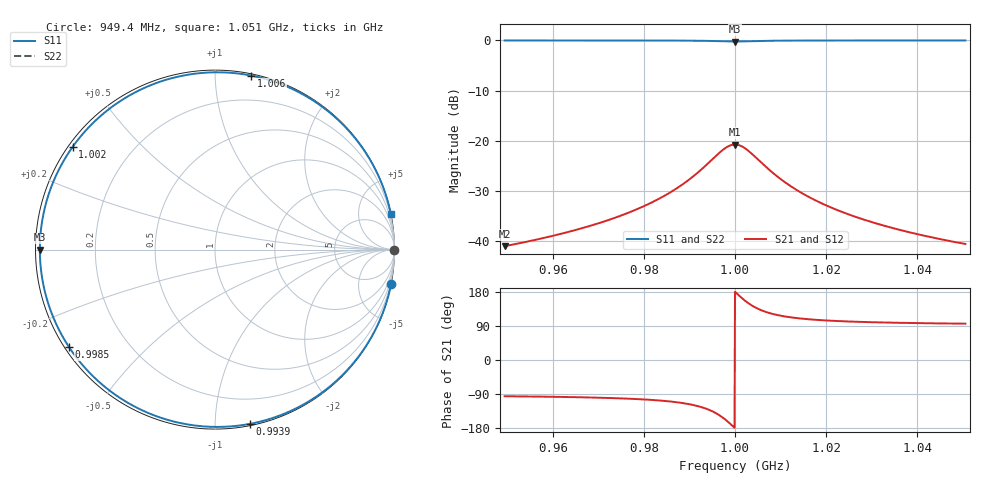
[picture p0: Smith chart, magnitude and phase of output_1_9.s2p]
! File generated for n1 = 1, n2 = 9
! b1 = 100.000000
! b2 = 0.215443
! Q0 = 10000.000000
! f0 = 1000000000.000000
! n = 1001
! rel_span = 10.000000
# Hz S RI R 50
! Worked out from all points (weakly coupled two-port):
!   1001 points, 949.4 MHz to 1.051 GHz, reference 50 ohm
!   highest |S21| = -20.75 dB at 1 GHz (marker M1); lowest = -41.0 dB at 949.4 MHz (marker M2)
!   lowest |S11| = -0.2 dB at 1 GHz (marker M3), VSWR 82.27, Z = 0.608 + j0 ohm
!   |S11| at or under -10 dB: nowhere
!   |S22| runs from 0.0 to 0.0 dB; largest |S21 - S12| = 0
!   S11 on the Smith chart (normalised r, x): 949.4 MHz: 0, -10; 993.9 MHz: 0.01, -1.22; 998.5 MHz: 0.01, -0.30; 1.002 GHz: 0.01, +0.32; 1.006 GHz: 0.01, +1.23; 1.051 GHz: 0.01, +9.88
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9.493923e8  0.9814 -0.1907  -0.000862 -0.00885  -0.000862 -0.00885  1 -0.000411
9.662953e8  0.9579 -0.2854  -0.00195 -0.0132  -0.00195 -0.0132  0.9999 -0.000615
9.759107e8  0.9184 -0.3931  -0.00379 -0.0182  -0.00379 -0.0182  0.9998 -0.000847
9.831982e8  0.8382 -0.5418  -0.00751 -0.0251  -0.00751 -0.0251  0.9997 -0.00117
9.89676e8  0.6204 -0.7785  -0.0176 -0.0361  -0.0176 -0.0361  0.9992 -0.00168
9.92004e8  0.4381 -0.8914  -0.0261 -0.0414  -0.0261 -0.0414  0.9988 -0.00192
9.939271e8  0.1931 -0.9713  -0.0375 -0.0451  -0.0375 -0.0451  0.9983 -0.00209
9.964575e8  -0.3246 -0.9289  -0.0615 -0.0431  -0.0615 -0.0431  0.9971 -0.002
9.974696e8  -0.58 -0.791  -0.0733 -0.0367  -0.0733 -0.0367  0.9966 -0.0017
9.984818e8  -0.8126 -0.5442  -0.0841 -0.0253  -0.0841 -0.0253  0.9961 -0.00117
1e9  -0.976 0  -0.0917 0  -0.0917 0  0.9957 0
1.00081e9  -0.9267 0.3081  -0.0894 0.0143  -0.0894 0.0143  0.9958 0.000664
1.001619e9  -0.7927 0.5732  -0.0832 0.0266  -0.0832 0.0266  0.9961 0.00123
1.00253e9  -0.5816 0.7898  -0.0734 0.0367  -0.0734 0.0367  0.9966 0.0017
1.003543e9  -0.3277 0.9278  -0.0616 0.0431  -0.0616 0.0431  0.9971 0.002
1.004656e9  -0.0725 0.9844  -0.0498 0.0457  -0.0498 0.0457  0.9977 0.00212
1.006174e9  0.203 0.9694  -0.037 0.045  -0.037 0.045  0.9983 0.00209
1.008097e9  0.4417 0.8896  -0.0259 0.0413  -0.0259 0.0413  0.9988 0.00192
1.010425e9  0.62 0.7788  -0.0176 0.0361  -0.0176 0.0361  0.9992 0.00168
1.016903e9  0.8349 0.5467  -0.00766 0.0254  -0.00766 0.0254  0.9996 0.00118
1.033806e9  0.9553 0.2939  -0.00208 0.0136  -0.00208 0.0136  0.9999 0.000633
1.050608e9  0.9795 0.2004  -0.000953 0.0093  -0.000953 0.0093  1 0.000432
